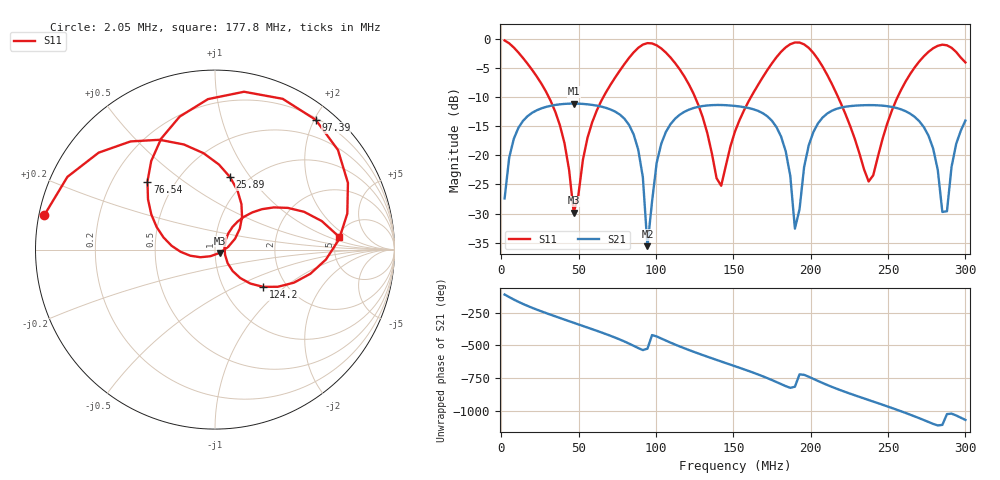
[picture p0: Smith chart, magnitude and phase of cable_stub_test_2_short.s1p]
# Hz S RI R 50
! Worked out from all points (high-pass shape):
!   101 points, 2.05 MHz to 300 MHz, reference 50 ohm
!   highest |S21| = -11.10 dB at 46.74 MHz (marker M1); lowest = -35.6 dB at 94.41 MHz (marker M2)
!   |S21| within 3 dB of the highest: 13.88 MHz to 80.64 MHz (66.75 MHz wide, 141 % of centre); 111 MHz to 175 MHz (63.98 MHz wide, 44.7 % of centre) (the widest 2 of 4)
!   lowest |S11| = -29.8 dB at 46.74 MHz (marker M3), VSWR 1.07, Z = 52.7 - j1.91 ohm
!   |S11| at or under -10 dB: 30.61 MHz to 65.88 MHz (35.27 MHz wide, 73.1 % of centre); 125.2 MHz to 161.3 MHz (36.14 MHz wide, 25.2 % of centre); 217.7 MHz to 256.2 MHz (38.48 MHz wide, 16.2 % of centre)
!   S12 and S22 are empty: the file has one direction only
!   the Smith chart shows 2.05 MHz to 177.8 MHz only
!   S11 on the Smith chart (normalised r, x): 2.05 MHz: 0.01, +0.10; 25.89 MHz: 0.83, +0.81; 76.54 MHz: 0.35, +0.37; 97.39 MHz: 0.23, +2.02; 124.2 MHz: 1.53, -0.72; 177.8 MHz: 5.19, +1.41
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2050000  -0.9519 0.1903  -0.0149 -0.0399  0 0  0 0
1.09885e7  -0.47 0.6028  -0.1675 -0.0412  0 0  0 0
2.5886e7  0.0845 0.4031  -0.1295 0.2177  0 0  0 0
4.07835e7  0.1117 0.0605  0.1474 0.2341  0 0  0 0
4.67425e7  0.0267 -0.0181  0.2327 0.153  0 0  0 0
5.27015e7  -0.0816 -0.0425  0.2733 0.0428  0 0  0 0
7.65375e7  -0.3763 0.3794  -0.0188 -0.2233  0 0  0 0
8.84555e7  -0.0391 0.8385  -0.1051 -0.038  0 0  0 0
9.44145e7  0.3772 0.84  -0.016 -0.00436  0 0  0 0
9.7394e7  0.5612 0.7231  0.0196 -0.035  0 0  0 0
1.03353e8  0.7406 0.372  0.00632 -0.1258  0 0  0 0
1.242095e8  0.2683 -0.2075  -0.2522 0.0368  0 0  0 0
1.420865e8  0.0531 0.0135  -0.0326 0.2687  0 0  0 0
1.51025e8  0.098 0.1269  0.1303 0.2316  0 0  0 0
1.778405e8  0.693 0.07  0.0864 -0.152  0 0  0 0
1.897585e8  0.6922 -0.6246  -0.0026 -0.0233  0 0  0 0
2.016765e8  -0.0596 -0.7571  0.128 -0.093  0 0  0 0
2.374305e8  -0.011 -0.0586  -0.2569 0.0835  0 0  0 0
2.52328e8  0.1595 -0.179  -0.0516 0.2556  0 0  0 0
2.76164e8  -0.3569 -0.6885  0.1464 -0.0163  0 0  0 0
2.851025e8  -0.8201 -0.354  0.0286 -0.0157  0 0  0 0
3e8  -0.4848 0.4005  0.1961 0.0326  0 0  0 0
